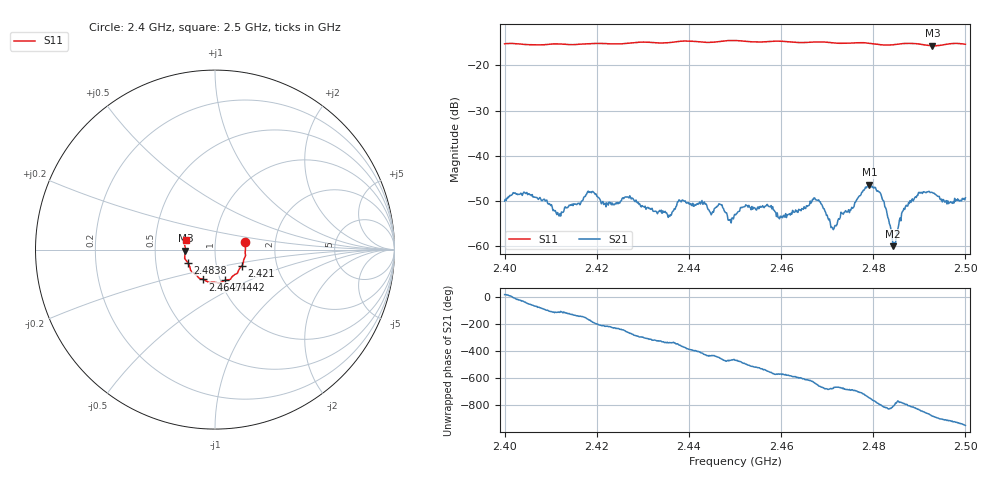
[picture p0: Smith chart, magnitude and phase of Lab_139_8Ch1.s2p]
# Hz S RI R 50
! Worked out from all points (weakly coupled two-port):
!   601 points, 2.4 GHz to 2.5 GHz, reference 50 ohm
!   highest |S21| = -46.42 dB at 2.4792 GHz (marker M1); lowest = -60.0 dB at 2.4843 GHz (marker M2)
!   lowest |S11| = -15.6 dB at 2.4928 GHz (marker M3), VSWR 1.40, Z = 35.8 - j0.396 ohm
!   |S11| at or under -10 dB: start of sweep to end of sweep
!   S12 and S22 are empty: the file has one direction only
!   S11 on the Smith chart (normalised r, x): 2.4 GHz: 1.40, +0.12; 2.421 GHz: 1.33, -0.24; 2.4442 GHz: 1.05, -0.37; 2.4647 GHz: 0.83, -0.28; 2.4838 GHz: 0.73, -0.11; 2.5 GHz: 0.72, +0.08
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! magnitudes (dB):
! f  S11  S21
! 2.4 GHz  -15.2  -50.0
! 2.4047 GHz  -15.4  -48.3
! 2.4117 GHz  -15.2  -53.0
! 2.4167 GHz  -15.3  -50.1
! 2.4187 GHz  -15.1  -48.0
! 2.421 GHz  -15.1  -50.6
! 2.4268 GHz  -15.1  -49.2
! 2.4333 GHz  -15.0  -52.5
! 2.4383 GHz  -14.6  -50.2
! 2.4442 GHz  -14.9  -51.9
! 2.45 GHz  -14.5  -53.0
! 2.4647 GHz  -14.9  -51.8
! 2.4667 GHz  -14.8  -50.2
! 2.4713 GHz  -15.0  -56.4
! 2.4792 GHz  -15.1  -46.4
! 2.4815 GHz  -15.4  -48.2
! 2.4833 GHz  -15.5  -54.1
! 2.4838 GHz  -15.5  -56.2
! 2.4843 GHz  -15.4  -60.0
! 2.4875 GHz  -15.1  -51.1
! 2.4928 GHz  -15.6  -48.2
! 2.5 GHz  -15.3  -49.3
